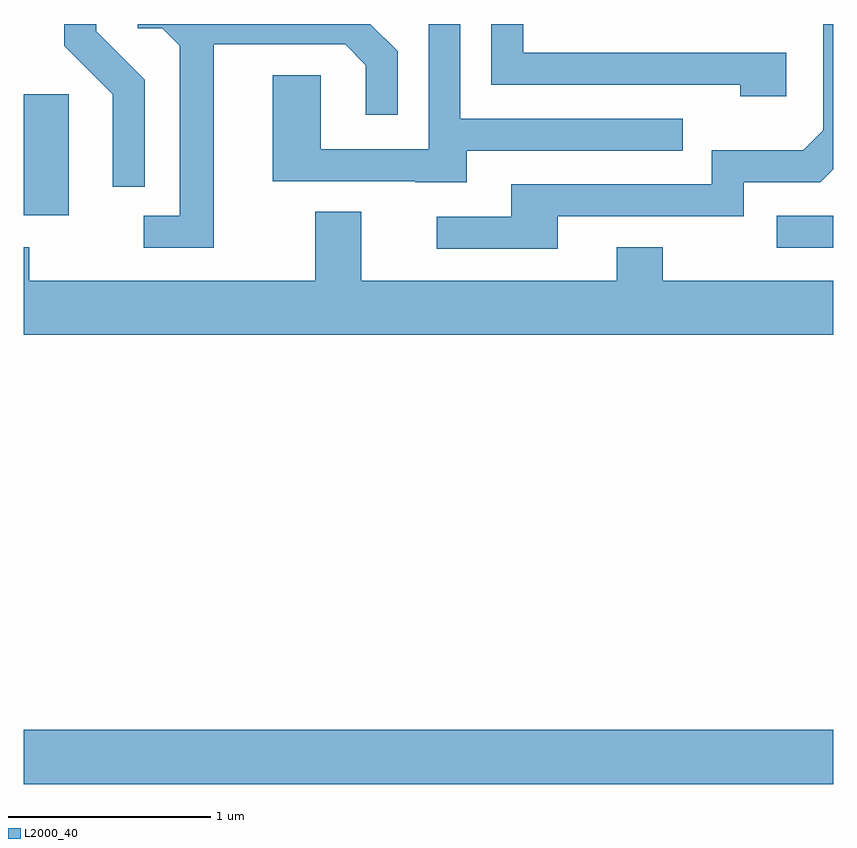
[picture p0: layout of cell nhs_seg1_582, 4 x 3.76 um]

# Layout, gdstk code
import gdstk
lib = gdstk.Library(unit=1e-6, precision=1e-09)
def R(c, l, rs):  # rectangles x0, y0, x1, y1
    for r in rs: c.add(gdstk.rectangle(r[:2], r[2:], *l))
def P(c, l, *ps):  # polygons
    for p in ps: c.add(gdstk.Polygon(p, *l))
L2000_40 = (2000, 40)

nhs_seg1_582 = lib.new_cell('nhs_seg1_582')
R(nhs_seg1_582, L2000_40, [(201.611,963.956,205.611,964.224), (205.333,966.606,205.611,966.764), (201.611,966.766,201.834,967.364)])
P(nhs_seg1_582, L2000_40, [(202.209,967.437),(201.969,967.677),(201.969,967.712),(201.811,967.712),(201.811,967.604),(202.051,967.364),(202.051,966.908),(202.209,966.908)],
  [(205.379,967.569),(204.079,967.569),(204.079,967.712),(203.921,967.712),(203.921,967.411),(205.151,967.411),(205.151,967.356),(205.379,967.356)],
  [(203.799,967.086),(204.868,967.086),(204.868,967.244),(203.769,967.244),(203.769,967.712),(203.611,967.712),(203.611,967.094),(203.079,967.094),(203.079,967.459),(202.841,967.459),(202.841,966.936),(203.545,966.936),(203.545,966.931),(203.799,966.931)],
  [(202.549,967.611),(203.199,967.611),(203.301,967.509),(203.301,967.263),(203.459,967.263),(203.459,967.577),(203.324,967.712),(202.173,967.712),(202.173,967.691),(202.294,967.691),(202.381,967.604),(202.381,966.764),(202.203,966.764),(202.203,966.606),(202.549,966.606)],
  [(204.249,966.761),(205.169,966.761),(205.169,966.931),(205.547,966.931),(205.611,966.995),(205.611,967.712),(205.561,967.712),(205.561,967.187),(205.464,967.089),(205.011,967.089),(205.011,966.919),(204.021,966.919),(204.021,966.759),(203.653,966.759),(203.653,966.601),(204.249,966.601)],
  [(205.611,966.444),(204.769,966.444),(204.769,966.609),(204.541,966.609),(204.541,966.444),(203.279,966.444),(203.279,966.784),(203.051,966.784),(203.051,966.444),(201.639,966.444),(201.639,966.609),(201.611,966.609),(201.611,966.176),(205.611,966.176)])

lib.write_gds('nhs_seg1_582.gds')
